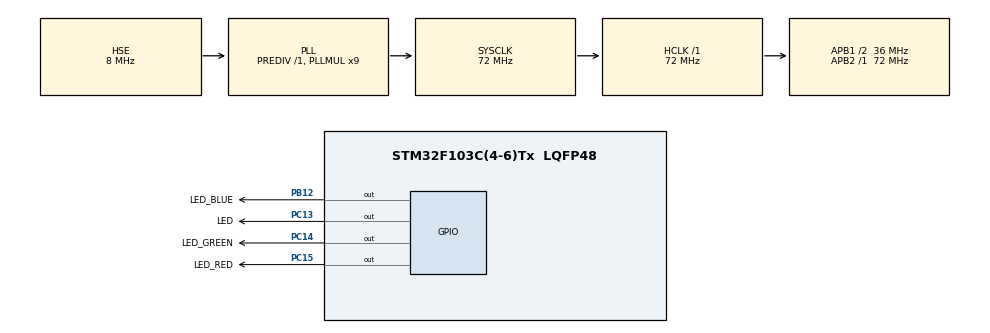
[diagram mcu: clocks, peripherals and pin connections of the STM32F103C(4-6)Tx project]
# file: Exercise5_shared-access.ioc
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FREERTOS.Tasks01=defaultTask,0,128,StartDefaultTask,Default,NULL,Dynamic,NULL,NULL;greenLEDTask,0,128,greenLEDFlashing,Default,NULL,Dynamic,NULL,NULL;redLEDTask,0,128,redLEDFlashing,Default,NULL,Dynamic,NULL,NULL
Mcu.Family=STM32F1
Mcu.Name=STM32F103C(4-6)Tx
Mcu.Package=LQFP48
NVIC.PriorityGroup=NVIC_PRIORITYGROUP_4
NVIC.TIM2_IRQn=true\:15\:0\:false\:false\:true\:false\:false\:true\:true
NVIC.TimeBase=TIM2_IRQn
NVIC.TimeBaseIP=TIM2
PA13.Mode=Serial_Wire
PA13.Signal=SYS_JTMS-SWDIO
PA14.Mode=Serial_Wire
PA14.Signal=SYS_JTCK-SWCLK
PB12.GPIO_Label=LED_BLUE
PB12.Signal=GPIO_Output
PC13-TAMPER-RTC.GPIO_Label=LED
PC13-TAMPER-RTC.Signal=GPIO_Output
PC14-OSC32_IN.GPIO_Label=LED_GREEN
PC14-OSC32_IN.Signal=GPIO_Output
PC15-OSC32_OUT.GPIO_Label=LED_RED
PC15-OSC32_OUT.Signal=GPIO_Output
PD0-OSC_IN.Mode=HSE-External-Oscillator
PD0-OSC_IN.Signal=RCC_OSC_IN
PD1-OSC_OUT.Mode=HSE-External-Oscillator
PD1-OSC_OUT.Signal=RCC_OSC_OUT
ProjectManager.HeapSize=0x200
ProjectManager.StackSize=0x400
ProjectManager.TargetToolchain=STM32CubeIDE
RCC.AHBFreq_Value=72000000
RCC.APB1CLKDivider=RCC_HCLK_DIV2
RCC.APB1Freq_Value=36000000
RCC.APB1TimFreq_Value=72000000
RCC.APB2Freq_Value=72000000
RCC.APB2TimFreq_Value=72000000
RCC.HCLKFreq_Value=72000000
RCC.PLLMUL=RCC_PLL_MUL9
RCC.PLLSourceVirtual=RCC_PLLSOURCE_HSE
RCC.SYSCLKFreq_VALUE=72000000
RCC.SYSCLKSource=RCC_SYSCLKSOURCE_PLLCLK
RCC.USBFreq_Value=72000000
VP_FREERTOS_VS_CMSIS_V1.Mode=CMSIS_V1
VP_SYS_VS_tim2.Mode=TIM2
board=custom

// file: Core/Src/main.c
/* USER CODE BEGIN Header */
/**
  ******************************************************************************
  * @file           : main.c
  * @brief          : Main program body
  ******************************************************************************
  * @attention
  *
  * Copyright (c) 2024 STMicroelectronics.
  * All rights reserved.
  *
  * This software is licensed under terms that can be found in the LICENSE file
  * in the root directory of this software component.
  * If no LICENSE file comes with this software, it is provided AS-IS.
  *
  ******************************************************************************
  */
/* USER CODE END Header */
#include "main.h"
#include "cmsis_os.h"
#include "task.h"

/* USER CODE BEGIN PD */
volatile int StartFlag = 1;
int greenTask = 0, redTask = 0;

/* USER CODE END PD */

osThreadId defaultTaskHandle;
osThreadId greenLEDTaskHandle;
osThreadId redLEDTaskHandle;

void SystemClock_Config(void);
static void MX_GPIO_Init(void);
void StartDefaultTask(void const * argument);
void greenLEDFlashing(void const * argument);
void redLEDFlashing(void const * argument);

/* USER CODE BEGIN PFP */
void AccessSharedData(void) {
    // Check and update StartFlag atomically
//	taskENTER_CRITICAL();

    if (StartFlag == 1) {
        StartFlag = 0;  // Set Start flag to Down
    } else {
        // Resource contention detected - turn on Blue LED
        HAL_GPIO_WritePin(LED_BLUE_GPIO_Port, LED_BLUE_Pin, GPIO_PIN_SET);
//        osDelay(200);  // Keep Blue LED on for 100ms for visibility
    }
    // Simulate read/write operations
    osDelay(500);
	StartFlag = 1;
    HAL_GPIO_WritePin(LED_BLUE_GPIO_Port, LED_BLUE_Pin, GPIO_PIN_RESET);

//    taskEXIT_CRITICAL();
}

/* USER CODE END PFP */

int main(void)
{

  /* MCU Configuration--------------------------------------------------------*/

  /* Reset of all peripherals, Initializes the Flash interface and the Systick. */
  HAL_Init();

  /* Configure the system clock */
  SystemClock_Config();

  /* Initialize all configured peripherals */
  MX_GPIO_Init();

  /* Create the thread(s) */
  /* definition and creation of defaultTask */
  osThreadDef(defaultTask, StartDefaultTask, osPriorityNormal, 0, 128);
  defaultTaskHandle = osThreadCreate(osThread(defaultTask), NULL);

  /* definition and creation of greenLEDTask */
  osThreadDef(greenLEDTask, greenLEDFlashing, osPriorityNormal, 0, 128);
  greenLEDTaskHandle = osThreadCreate(osThread(greenLEDTask), NULL);

  /* definition and creation of redLEDTask */
  osThreadDef(redLEDTask, redLEDFlashing, osPriorityNormal, 0, 128);
  redLEDTaskHandle = osThreadCreate(osThread(redLEDTask), NULL);

  /* Start scheduler */
  osKernelStart();

  /* We should never get here as control is now taken by the scheduler */

  /* Infinite loop */
  while (1)
  {

  }
}

void SystemClock_Config(void)
{
  RCC_OscInitTypeDef RCC_OscInitStruct = {0};
  RCC_ClkInitTypeDef RCC_ClkInitStruct = {0};

  /** Initializes the RCC Oscillators according to the specified parameters
  * in the RCC_OscInitTypeDef structure.
  */
  RCC_OscInitStruct.OscillatorType = RCC_OSCILLATORTYPE_HSE;
  RCC_OscInitStruct.HSEState = RCC_HSE_ON;
  RCC_OscInitStruct.HSEPredivValue = RCC_HSE_PREDIV_DIV1;
  RCC_OscInitStruct.HSIState = RCC_HSI_ON;
  RCC_OscInitStruct.PLL.PLLState = RCC_PLL_ON;
  RCC_OscInitStruct.PLL.PLLSource = RCC_PLLSOURCE_HSE;
  RCC_OscInitStruct.PLL.PLLMUL = RCC_PLL_MUL9;
  if (HAL_RCC_OscConfig(&RCC_OscInitStruct) != HAL_OK)
  {
    Error_Handler();
  }

  /** Initializes the CPU, AHB and APB buses clocks
  */
  RCC_ClkInitStruct.ClockType = RCC_CLOCKTYPE_HCLK|RCC_CLOCKTYPE_SYSCLK
                              |RCC_CLOCKTYPE_PCLK1|RCC_CLOCKTYPE_PCLK2;
  RCC_ClkInitStruct.SYSCLKSource = RCC_SYSCLKSOURCE_PLLCLK;
  RCC_ClkInitStruct.AHBCLKDivider = RCC_SYSCLK_DIV1;
  RCC_ClkInitStruct.APB1CLKDivider = RCC_HCLK_DIV2;
  RCC_ClkInitStruct.APB2CLKDivider = RCC_HCLK_DIV1;

  if (HAL_RCC_ClockConfig(&RCC_ClkInitStruct, FLASH_LATENCY_2) != HAL_OK)
  {
    Error_Handler();
  }
}

static void MX_GPIO_Init(void)
{
  GPIO_InitTypeDef GPIO_InitStruct = {0};

  /* GPIO Ports Clock Enable */
  __HAL_RCC_GPIOC_CLK_ENABLE();
  __HAL_RCC_GPIOD_CLK_ENABLE();
  __HAL_RCC_GPIOB_CLK_ENABLE();
  __HAL_RCC_GPIOA_CLK_ENABLE();

  /*Configure GPIO pin Output Level */
  HAL_GPIO_WritePin(GPIOC, LED_Pin|LED_GREEN_Pin|LED_RED_Pin, GPIO_PIN_RESET);

  /*Configure GPIO pin Output Level */
  HAL_GPIO_WritePin(LED_BLUE_GPIO_Port, LED_BLUE_Pin, GPIO_PIN_RESET);

  /*Configure GPIO pins : LED_Pin LED_GREEN_Pin LED_RED_Pin */
  GPIO_InitStruct.Pin = LED_Pin|LED_GREEN_Pin|LED_RED_Pin;
  GPIO_InitStruct.Mode = GPIO_MODE_OUTPUT_PP;
  GPIO_InitStruct.Pull = GPIO_NOPULL;
  GPIO_InitStruct.Speed = GPIO_SPEED_FREQ_LOW;
  HAL_GPIO_Init(GPIOC, &GPIO_InitStruct);

  /*Configure GPIO pin : LED_BLUE_Pin */
  GPIO_InitStruct.Pin = LED_BLUE_Pin;
  GPIO_InitStruct.Mode = GPIO_MODE_OUTPUT_PP;
  GPIO_InitStruct.Pull = GPIO_NOPULL;
  GPIO_InitStruct.Speed = GPIO_SPEED_FREQ_LOW;
  HAL_GPIO_Init(LED_BLUE_GPIO_Port, &GPIO_InitStruct);

}

void StartDefaultTask(void const * argument)
{
  for(;;)
  {
    osDelay(1);
  }
}

void greenLEDFlashing(void const * argument)
{
  /* USER CODE BEGIN greenLEDFlashing */
  /* Infinite loop */
	for(;;)
	{
		// Turn on Green LED
		HAL_GPIO_WritePin(LED_GREEN_GPIO_Port, LED_GREEN_Pin, GPIO_PIN_SET);
		greenTask = 1;

		// Try to access shared resource
		AccessSharedData();
		osDelay(500);

		// Turn off Green LED
		HAL_GPIO_WritePin(LED_GREEN_GPIO_Port, LED_GREEN_Pin, GPIO_PIN_RESET);
		greenTask = 0;

		osDelay(500);  // Wait before next cycle
	}
  /* USER CODE END greenLEDFlashing */
}

void redLEDFlashing(void const * argument)
{
  /* USER CODE BEGIN redLEDFlashing */
  /* Infinite loop */
  for(;;)
  {
      // Turn on Red LED
      HAL_GPIO_WritePin(LED_RED_GPIO_Port, LED_RED_Pin, GPIO_PIN_SET);
      redTask = 1;

      // Try to access shared resource
      AccessSharedData();
      osDelay(100);

      // Turn off Red LED
      HAL_GPIO_WritePin(LED_RED_GPIO_Port, LED_RED_Pin, GPIO_PIN_RESET);
      redTask = 0;

      osDelay(100);  // Wait before next cycle
  }
  /* USER CODE END redLEDFlashing */
}

void HAL_TIM_PeriodElapsedCallback(TIM_HandleTypeDef *htim)
{
  if (htim->Instance == TIM2) {
    HAL_IncTick();
  }
}

void Error_Handler(void)
{
  __disable_irq();
  while (1)
  {
  }
}
